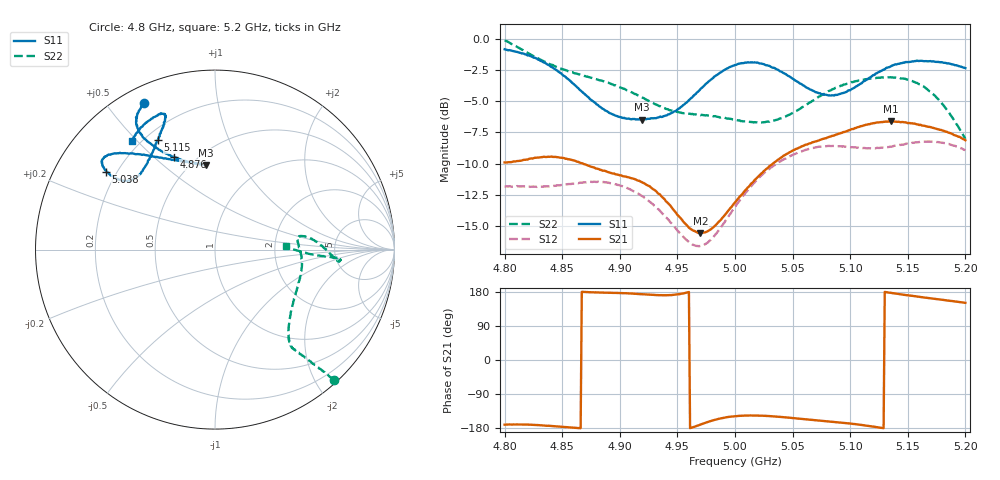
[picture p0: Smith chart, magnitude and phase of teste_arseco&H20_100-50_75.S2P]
! Network Analyzer HP8722D
! Hewlett-Packard
! Data name: Linha & Wilkinson
! Saver's name: Rodrigo Anjos
! Comments: Teste da utilização de aquisição
! continua pelo VNA HP8722D
! Time and date: 6/5/2025 13:11
!  Frequency  S11  S21  S12  S22
# HZ  S  MA R 50
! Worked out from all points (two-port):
!   401 points, 4.8 GHz to 5.2 GHz, reference 50 ohm
!   highest |S21| = -6.61 dB at 5.135 GHz (marker M1); lowest = -15.5 dB at 4.97 GHz (marker M2)
!   |S21| within 3 dB of the highest: 4.821 GHz to 4.853 GHz (31.48 MHz wide, 0.651 % of centre); 5.039 GHz to end of sweep (the widest 2 of 3)
!   lowest |S11| = -6.5 dB at 4.919 GHz (marker M3), VSWR 2.81, Z = 29.3 + j35.6 ohm
!   |S11| at or under -10 dB: nowhere
!   |S22| runs from -8.0 to -0.1 dB; largest |S21 - S12| = 0.83
!   S11 on the Smith chart (normalised r, x): 4.8 GHz: 0.07, +0.63; 4.876 GHz: 0.38, +0.58; 5.038 GHz: 0.16, +0.31; 5.115 GHz: 0.25, +0.58; 5.2 GHz: 0.17, +0.48
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4.8e9  0.9069 115.8  0.3198 -170.6  0.2567 -86.1  0.9833 -47.6
4.819e9  0.8627 120.2  0.3286 -170.5  0.2555 -81.9  0.8822 -48.8
4.835e9  0.8006 122.6  0.3367 -173.0  0.2563 -76.6  0.8075 -49.7
4.867e9  0.6143 118.1  0.3174 179.9  0.2654 -67.3  0.715 -51.5
4.876e9  0.5652 114.0  0.3068 178.6  0.2672 -66.3  0.6958 -52.0
4.901e9  0.4843 100.8  0.2841 176.6  0.2578 -66.7  0.6366 -49.9
4.919e9  0.4745 96.0  0.2671 173.9  0.235 -68.7  0.5825 -44.8
4.934e9  0.485 99.1  0.2394 171.0  0.2072 -69.4  0.5377 -37.4
4.948e9  0.5121 107.6  0.2032 172.1  0.1757 -66.6  0.5114 -28.5
4.97e9  0.6286 124.2  0.1669 -170.4  0.1484 -46.4  0.494 -14.3
4.981e9  0.696 130.0  0.1757 -159.2  0.1606 -33.9  0.4894 -8.7
5e9  0.7845 137.3  0.2212 -148.4  0.2126 -21.4  0.4737 -0.4
5.018e9  0.8029 141.6  0.2745 -146.5  0.2695 -18.4  0.4626 5.8
5.038e9  0.7468 144.4  0.3292 -149.6  0.3208 -18.5  0.4773 9.0
5.067e9  0.6213 141.9  0.3849 -158.0  0.3651 -20.5  0.5631 4.6
5.088e9  0.5955 133.0  0.4137 -163.9  0.3713 -23.7  0.6372 -1.6
5.115e9  0.6885 117.7  0.4535 -173.6  0.364 -26.7  0.6896 -5.3
5.134e9  0.7694 111.3  0.4654 177.8  0.3691 -28.7  0.7001 -4.9
5.135e9  0.7734 111.1  0.4672 177.4  0.3702 -28.7  0.7009 -4.8
5.16e9  0.8141 112.1  0.4513 166.6  0.386 -34.8  0.657 -3.8
5.179e9  0.8053 118.4  0.4315 159.2  0.3837 -40.7  0.5551 -3.0
5.2e9  0.7625 127.4  0.3923 150.9  0.3582 -46.3  0.3972 2.5
